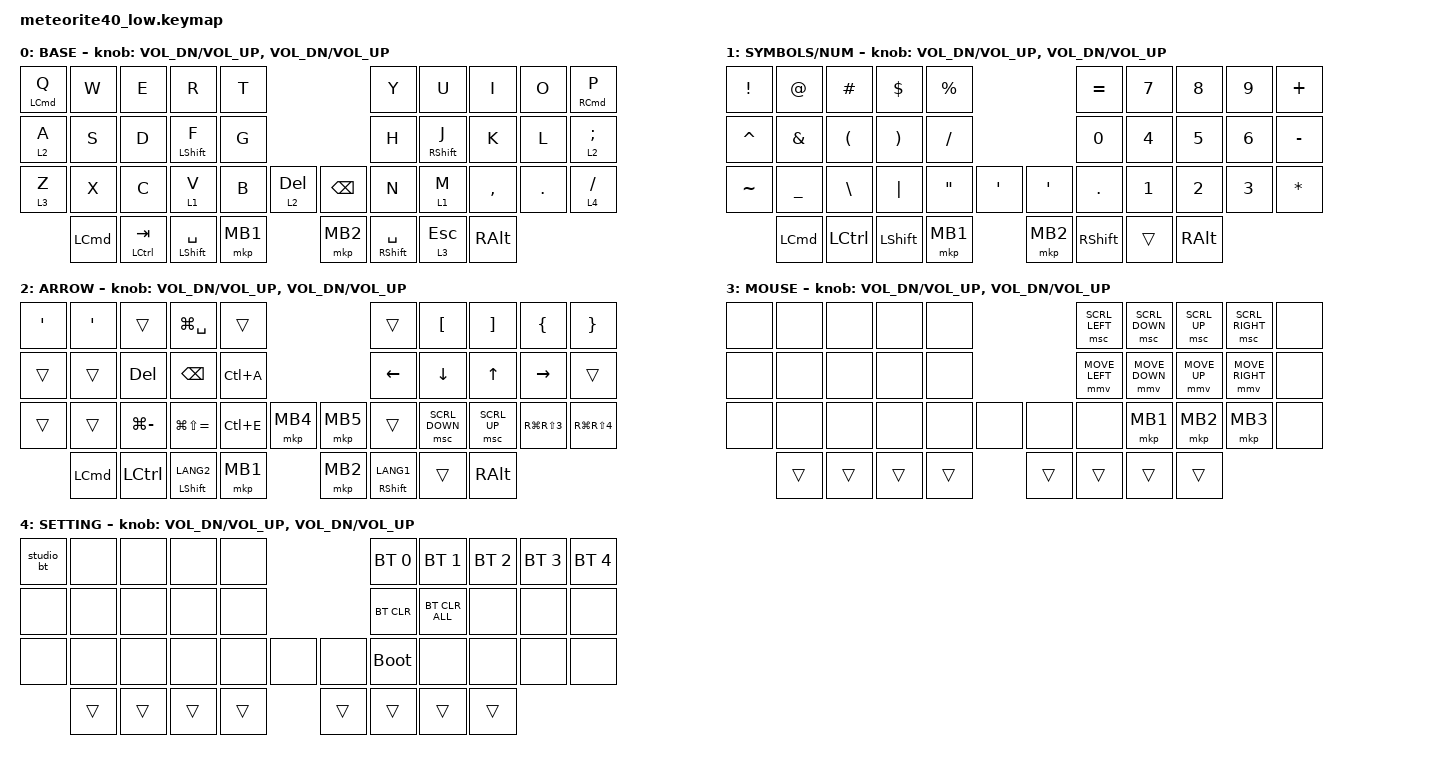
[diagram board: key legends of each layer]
#include <behaviors.dtsi>
#include <dt-bindings/zmk/bt.h>
#include <dt-bindings/zmk/keys.h>
#include "user_macros.dtsi"

#define ZMK_POINTING_DEFAULT_MOVE_VAL 1500 // 26.8.30 Addition of description
#define ZMK_POINTING_DEFAULT_SCRL_VAL 200
#include <dt-bindings/zmk/pointing.h>

#include <behaviors/custom_config.dtsi>
#include <behaviors/meteorite_custom_key.dtsi>
#include <behaviors/meteorite_bt_os.dtsi>
#include <behaviors/meteorite_mod_key.dtsi>
#include <behaviors/meteorite_os_key.dtsi>
#include <behaviors/meteorite_os_macro.dtsi>
#include <behaviors/studio_bt_disc.dtsi>
#include <dt-bindings/zmk/custom_config.h>
#include <dt-bindings/zmk/meteorite_custom_keys.h>
#include <dt-bindings/zmk/meteorite_bt_os.h>


&mt { 
    flavor = "tap-preferred"; // change hold to tap
    tapping-term-ms = <240>;
    meteorite-tapping-term-source = "mod-tap";
    quick-tap-ms = <200>; // change 200 to 150
    require-prior-idle-ms = <150>;
};

&lt {
    flavor = "tap-preferred";
    tapping-term-ms = <240>; // change 200 to 150
    meteorite-tapping-term-source = "layer-tap";
    quick-tap-ms = <200>; // change 200 to 150
    require-prior-idle-ms = <150>;
};

/ {
    behaviors {
        mck_mt: mck_mt {
            compatible = "zmk,behavior-hold-tap";
            #binding-cells = <2>;
            flavor = "tap-preferred";
            tapping-term-ms = <200>;
            meteorite-tapping-term-source = "mod-tap";
            bindings = <&mck>, <&kp>;
            display-name = "meteorite OS-Switch-mod-tap";
        };

        mck_mt_st: mck_mt_st {
            compatible = "zmk,behavior-hold-tap";
            #binding-cells = <2>;
            flavor = "tap-preferred";
            tapping-term-ms = <200>;
            meteorite-tapping-term-source = "mod-tap";
            bindings = <&mck>, <&alt_cmd_tab>;
            display-name = "meteorite OS-Switch-mod-tap (smart toggle)";
        };

        alt_cmd_tab: alt_cmd_tab {
            compatible = "zmk,behavior-smart-toggle";
            #binding-cells = <0>;
            display-name = "meteorite Smart toggle (Alt/Cmd+Tab)";
            bindings = <&mck M_OS_ALT_CMD>, <&kp TAB>;
            position-bindings = <12 13>; /* D, F */
            position-binding-behaviors = <&kp LS(TAB)>, <&kp TAB>;
        };

        enc_msc: encoder_mouse_scroll {
            compatible = "zmk,behavior-sensor-rotate-var";
            #sensor-binding-cells = <2>;
            bindings = <&msc>, <&msc>;
            tap-ms = <25>;
            display-name = "Encoder Mouse Scroll";
        };

        enc_kp: encoder_key_press {
            compatible = "zmk,behavior-sensor-rotate-var";
            #sensor-binding-cells = <2>;
            bindings = <&kp>, <&kp>;
            tap-ms = <25>;
            display-name = "Encoder Key Press";
        };

    };

    combos {
        compatible = "zmk,combos";

        minus {
            bindings = <&kp MINUS>;
            key-positions = <12 17>; /* D + K */
            layers = <0>;
        };

        enter {
            bindings = <&kp ENTER>;
            key-positions = <7 8>; /* I + O */
            layers = <0>;
        };

        esc {
            bindings = <&kp ESCAPE>;
            key-positions = <6 7 8>; /* U + I + O */
            layers = <0>;
        };

        tab {
            bindings = <&kp TAB>;
            key-positions = <1 2>; /* W + E */
            layers = <0>;
        };

        space {
            bindings = <&kp SPACE>;
            key-positions = <6 7>; /* U + I */
            layers = <0>;
        };

        lang1 {
            bindings = <&kp LANG1>;
            key-positions = <17 18>; /* K + L */
            layers = <0>;
        };

        lang2 {
            bindings = <&kp LANG2>;
            key-positions = <11 12>; /* S + D */
            layers = <0>;
        };

        CTL_Z {
            bindings = <&kp LC(Z)>;
            key-positions = <21 22>; /* X + C */
            layers = <0>;
        };
    };

    keymap {
        compatible = "zmk,keymap";
        layout = &LOW_PROFILE_TYPE_B;

        win_default_layer {
            display-name = "BASE";
            bindings = <
                &mt LCMD   Q &kp W       &kp E        &kp R        &kp T                                 &kp Y        &kp U        &kp I       &kp O  &mt RCMD    P
                &lt 2      A &kp S       &kp D        &mt LSHIFT F &kp G                                 &kp H        &mt RSHIFT J &kp K       &kp L  &lt 2       SEMI
                &lt 3      Z &kp X       &kp C        &lt 1      V &kp B       &lt 2 DEL    &kp BSPC     &kp N        &lt 1      M &kp COMMA   &kp DOT  &lt 4     SLASH
                                   &kp LCMD  &mt LCTRL TAB  &mt LSHIFT SPACE   &mkp MB1     &mkp  MB2    &mt RSHIFT SPACE  &lt 3 ESC  &kp RALT
            >;
            sensor-bindings =
                <&enc_kp C_VOL_DN C_VOL_UP>,
                <&enc_kp C_VOL_DN C_VOL_UP>;
        };

        layer_1 {
            display-name = "SYMBOLS/NUM";
            bindings = <
                &kp EXCL   &kp AT    &kp HASH  &kp DLLR  &kp PRCNT            &kp EQUAL  &kp N7     &kp N8     &kp N9     &kp PLUS
                &kp CARET  &kp AMPS  &kp LPAR  &kp RPAR  &kp SLASH            &kp N0     &kp N4     &kp N5     &kp N6     &kp MINUS
                &kp TILDE  &kp UNDER &kp BSLH  &kp PIPE  &kp DQT    &kp APOS  &kp SQT    &kp DOT    &kp N1     &kp N2     &kp N3     &kp ASTRK
                                     &kp LCMD  &kp LCTRL &kp LSHIFT &mkp MB1  &mkp MB2   &kp RSHIFT &trans     &kp RALT
            >;
            sensor-bindings =
                <&enc_kp C_VOL_DN C_VOL_UP>,
                <&enc_kp C_VOL_DN C_VOL_UP>;
        };

        layer_2 {
            display-name = "ARROW";
            bindings = <
                &kp APOS &kp SQT &trans        &kp LG(SPACE)     &trans                             &trans           &kp LBKT       &kp RBKT     &kp LBRC        &kp RBRC
                &trans   &trans  &kp DEL       &kp BSPC          &kp LC(A)                          &kp LEFT         &kp DOWN       &kp UP       &kp RIGHT       &trans
                &trans   &trans  &kp LG(MINUS) &kp LG(LS(EQUAL)) &kp LC(E)        &mkp MB4 &mkp MB5 &trans           &msc SCRL_DOWN &msc SCRL_UP &kp RG(RS(N3))  &kp RG(RS(N4))
                                 &kp LCMD      &kp LCTRL         &mt LSHIFT LANG2 &mkp MB1 &mkp MB2 &mt RSHIFT LANG1 &trans   &kp RALT
            >;
            sensor-bindings =
                <&enc_kp C_VOL_DN C_VOL_UP>,
                <&enc_kp C_VOL_DN C_VOL_UP>;
        };

        layer_3 {
            display-name = "MOUSE";
            bindings = <
                &none   &none   &none   &none   &none                   &msc SCRL_LEFT &msc SCRL_DOWN &msc SCRL_UP &msc SCRL_RIGHT &none
                &none   &none   &none   &none   &none                   &mmv MOVE_LEFT &mmv MOVE_DOWN &mmv MOVE_UP &mmv MOVE_RIGHT &none
                &none   &none   &none   &none   &none   &none   &none   &none          &mkp MB1       &mkp MB2     &mkp MB3        &none
                                &trans  &trans  &trans  &trans  &trans  &trans         &trans         &trans
            >;
            sensor-bindings =
                <&enc_kp C_VOL_DN C_VOL_UP>,
                <&enc_kp C_VOL_DN C_VOL_UP>;
        };

        layer_4 {
			display-name = "SETTING";
			bindings = <
				&studio_bt      &none           &none            &none            &none                        &bt BT_SEL 0   &bt BT_SEL 1    &bt BT_SEL 2  &bt BT_SEL 3  &bt BT_SEL 4
				&none           &none           &none            &none            &none                   &bt BT_CLR     &bt BT_CLR_ALL  &none         &none         &none
				&none           &none           &none            &none            &none                    &none  &none    &bootloader    &none           &none         &none         &none
												                    &trans       &trans  &trans  &trans  &trans  &trans    &trans        &trans
			>;
            sensor-bindings =
                <&enc_kp C_VOL_DN C_VOL_UP>,
                <&enc_kp C_VOL_DN C_VOL_UP>;
        };

        layer_5 {
            status = "reserved";
            display-name = "RESERVE 1";
            bindings = <
                &none  &none  &none  &none  &none                  &none  &none  &none  &none  &none
                &none  &none  &none  &none  &none                  &none  &none  &none  &none  &none
                &none  &none  &none  &none  &none  &none  &none  &none  &none  &none  &none  &none
                              &none  &none  &none  &none  &none  &none  &none  &none
            >;

            sensor-bindings =
                <&enc_kp C_VOL_DN C_VOL_UP>,
                <&enc_kp C_VOL_DN C_VOL_UP>;
        };

        layer_6 {
            status = "reserved";
            display-name = "RESERVE 2";
            bindings = <
                &none  &none  &none  &none  &none                  &none  &none  &none  &none  &none
                &none  &none  &none  &none  &none                  &none  &none  &none  &none  &none
                &none  &none  &none  &none  &none  &none  &none  &none  &none  &none  &none  &none
                              &none  &none  &none  &none  &none  &none  &none  &none
            >;

            sensor-bindings =
                <&enc_kp C_VOL_DN C_VOL_UP>,
                <&enc_kp C_VOL_DN C_VOL_UP>;
        };

        layer_7 {
            status = "reserved";
            display-name = "RESERVE 3";
            bindings = <
                &none  &none  &none  &none  &none                  &none  &none  &none  &none  &none
                &none  &none  &none  &none  &none                  &none  &none  &none  &none  &none
                &none  &none  &none  &none  &none  &none  &none  &none  &none  &none  &none  &none
                              &none  &none  &none  &none  &none  &none  &none  &none
            >;

            sensor-bindings =
                <&enc_kp C_VOL_DN C_VOL_UP>,
                <&enc_kp C_VOL_DN C_VOL_UP>;
        };
    };
};
